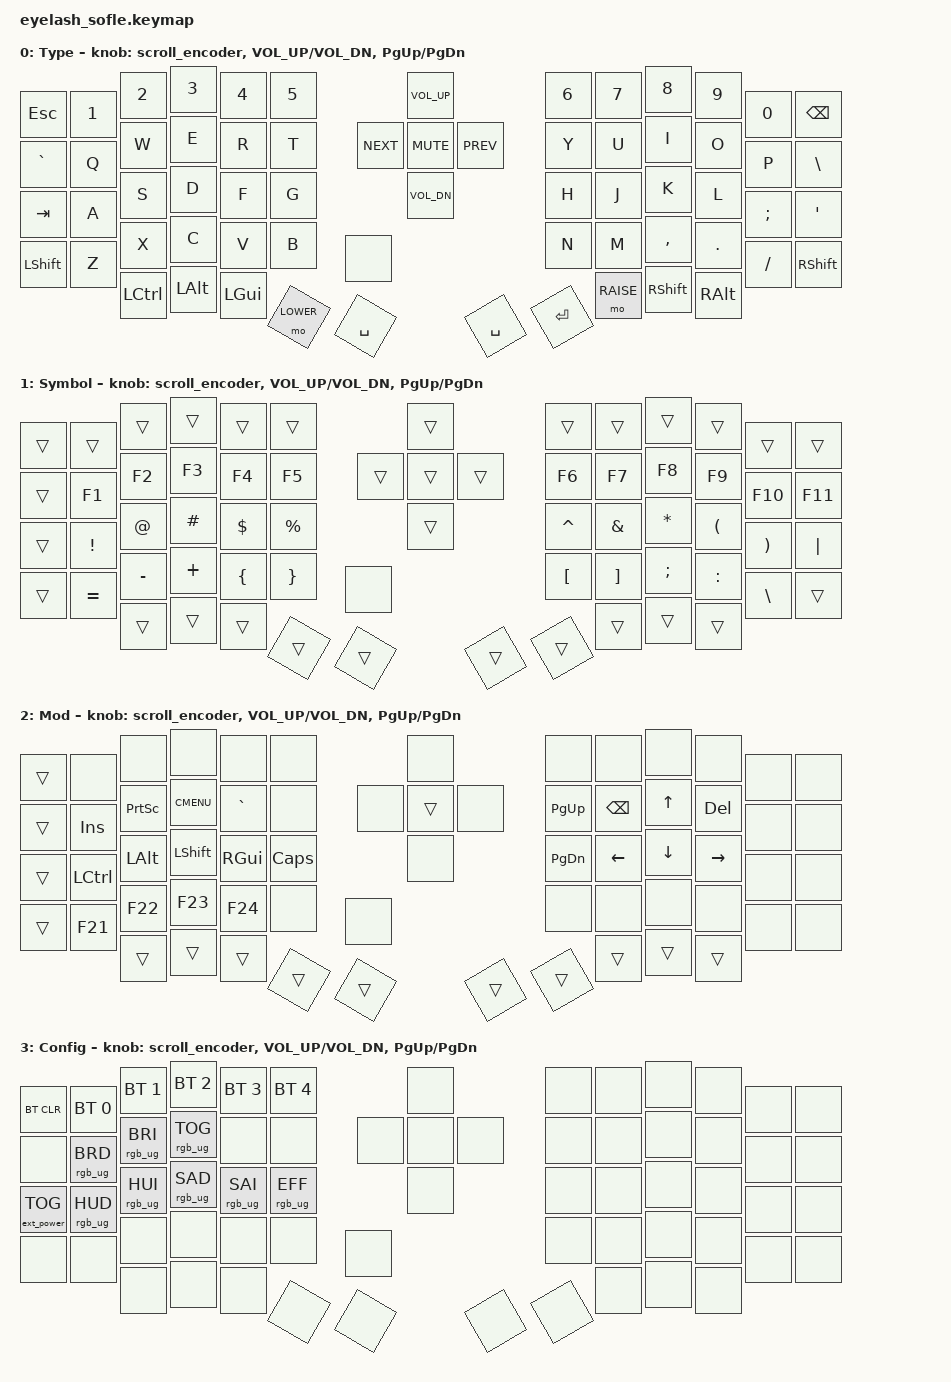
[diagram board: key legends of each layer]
#define ZMK_POINTING_DEFAULT_MOVE_VAL 1200
#define ZMK_POINTING_DEFAULT_SCRL_VAL 25

#include <behaviors.dtsi>
#include <dt-bindings/zmk/bt.h>
#include <dt-bindings/zmk/ext_power.h>
#include <dt-bindings/zmk/keys.h>
#include <dt-bindings/zmk/outputs.h>
#include <dt-bindings/zmk/pointing.h>
#include <dt-bindings/zmk/rgb.h>
#include <input/processors.dtsi>
#include <zephyr/dt-bindings/input/input-event-codes.h>

#define BASE 0
#define LOWER 1
#define RAISE 2
#define ADJUST 3

&mmv_input_listener {
    input-processors = <&zip_xy_scaler 2 1>;
};

&msc_input_listener {
    input-processors = <&zip_scroll_scaler 2 1>;
};

&msc {
    acceleration-exponent = <1>;
    time-to-max-speed-ms = <100>;
    delay-ms = <0>;
};

&mmv {
    acceleration-exponent = <1>;
    time-to-max-speed-ms = <500>;
    trigger-period-ms = <16>;
};

/ {
    conditional_layers {
        compatible = "zmk,conditional-layers";

        adjust_layer {
            if-layers = <LOWER RAISE>;
            then-layer = <ADJUST>;
        };
    };

    scroll_encoder: scroll_encoder {
        compatible = "zmk,behavior-sensor-rotate";
        #sensor-binding-cells = <0>;
        bindings = <&msc SCRL_DOWN>, <&msc SCRL_UP>;
        tap-ms = <100>;
    };

    keymap {
        compatible = "zmk,keymap";

        default_layer {
            display-name = "Type";
            sensor-bindings = <&scroll_encoder
                               &inc_dec_kp C_VOL_UP C_VOL_DN
                               &inc_dec_kp PG_UP PG_DN>;

            bindings = <
//            | Left hand                                         | Encoder/media | Right hand
// Top row    ESC       1         2        3        4        5       Vol+            6        7        8        9        0        BSPC
              &kp ESC   &kp N1    &kp N2   &kp N3   &kp N4   &kp N5  &kp C_VOL_UP    &kp N6   &kp N7   &kp N8   &kp N9   &kp N0   &kp BSPC
// Home row   `         Q         W        E        R        T       Vol-            Y        U        I        O        P        \|
              &kp GRAVE &kp Q     &kp W    &kp E    &kp R    &kp T   &kp C_VOL_DN    &kp Y    &kp U    &kp I    &kp O    &kp P    &kp BSLH
// Lower row  TAB       A         S        D        F        G       Next            H        J        K        L        ;        '
              &kp TAB   &kp A     &kp S    &kp D    &kp F    &kp G   &kp C_NEXT      &kp H    &kp J    &kp K    &kp L    &kp SEMI &kp SQT
// Bottom row SHIFT     Z         X        C        V        B       Prev            N        M        ,        .        /        SHIFT
              &kp LSHFT &kp Z     &kp X    &kp C    &kp V    &kp B   &kp C_PREV      &kp N    &kp M    &kp COMMA &kp DOT  &kp FSLH &kp RSHFT
// Center encoder click
                                                                    &none
// Thumbs     CTRL      ALT       GUI      LOWER    SPACE           Mute            SPACE    ENTER    RAISE    SHIFT    ALT
              &kp LCTRL &kp LALT  &kp LGUI &mo LOWER &kp SPACE      &kp C_MUTE      &kp SPACE &kp ENTER &mo RAISE &kp RSHFT &kp RALT
            >;
        };

        lower_layer {
            display-name = "Symbol";
            sensor-bindings = <&scroll_encoder
                               &inc_dec_kp C_VOL_UP C_VOL_DN
                               &inc_dec_kp PG_UP PG_DN>;

            bindings = <
//            | Left hand                                               | Encoder | Right hand
// Top row    transparent transparent transparent transparent transparent transparent transparent transparent transparent transparent transparent transparent transparent
              &trans      &trans      &trans      &trans      &trans      &trans      &trans      &trans      &trans      &trans      &trans      &trans      &trans
// Home row   transparent F1          F2          F3          F4          F5          transparent F6          F7          F8          F9          F10         F11
              &trans      &kp F1      &kp F2      &kp F3      &kp F4      &kp F5      &trans      &kp F6      &kp F7      &kp F8      &kp F9      &kp F10     &kp F11
// Lower row  transparent !           @           #           $           %           transparent ^           &           *           (           )           |
              &trans      &kp EXCL    &kp AT      &kp HASH    &kp DLLR    &kp PRCNT   &trans      &kp CARET   &kp AMPS    &kp ASTRK   &kp LPAR    &kp RPAR    &kp PIPE
// Bottom row transparent =           -           +           {           }           transparent [           ]           ;           :           \           transparent
              &trans      &kp EQUAL   &kp MINUS   &kp PLUS    &kp LBRC    &kp RBRC    &trans      &kp LBKT    &kp RBKT    &kp SEMI    &kp COLON   &kp BSLH    &trans
// Center encoder click
                                                                                &none
// Thumbs     transparent transparent transparent transparent transparent       transparent transparent transparent transparent transparent transparent
              &trans      &trans      &trans      &trans      &trans            &trans      &trans      &trans      &trans      &trans      &trans
            >;
        };

        raise_layer {
            display-name = "Mod";
            sensor-bindings = <&scroll_encoder
                               &inc_dec_kp C_VOL_UP C_VOL_DN
                               &inc_dec_kp PG_UP PG_DN>;

            bindings = <
//            | Left hand                                             | Encoder | Right hand
// Top row    transparent disabled  disabled  disabled  disabled  disabled disabled  disabled   disabled  disabled disabled  disabled disabled
              &trans      &none     &none     &none     &none     &none     &none     &none      &none     &none    &none     &none    &none
// Home row   transparent INS       PSCR      MENU      `         disabled disabled  PGUP       BSPC      UP      DEL       disabled disabled
              &trans      &kp INS   &kp PSCRN &kp K_CMENU &kp GRAVE &none   &none     &kp PG_UP  &kp BSPC  &kp UP  &kp DEL   &none     &none
// Lower row  transparent CTRL      ALT       SHIFT     GUI       CAPS     disabled  PGDN       LEFT      DOWN    RIGHT     disabled disabled
              &trans      &kp LCTRL &kp LALT  &kp LSHFT &kp RGUI  &kp CLCK &none     &kp PG_DN  &kp LEFT  &kp DOWN &kp RIGHT &none     &none
// Bottom row transparent F21       F22       F23       F24       disabled disabled  disabled   disabled  disabled disabled  disabled disabled
              &trans      &kp F21   &kp F22   &kp F23   &kp F24   &none     &none     &none      &none     &none    &none     &none     &none
// Center encoder click
                                                                          &none
// Thumbs     transparent transparent transparent transparent transparent transparent transparent transparent transparent transparent transparent
              &trans      &trans    &trans    &trans    &trans      &trans    &trans    &trans    &trans    &trans    &trans
            >;
        };

        adjust_layer {
            display-name = "Config";
            sensor-bindings = <&scroll_encoder
                               &inc_dec_kp C_VOL_UP C_VOL_DN
                               &inc_dec_kp PG_UP PG_DN>;

            bindings = <
//            | Left hand                                                     | Encoder | Right hand
// Top row    BT clear      BT1         BT2         BT3         BT4         BT5         disabled disabled disabled disabled disabled disabled disabled
              &bt BT_CLR    &bt BT_SEL 0 &bt BT_SEL 1 &bt BT_SEL 2 &bt BT_SEL 3 &bt BT_SEL 4 &none     &none    &none    &none    &none    &none    &none
// Home row   disabled      RGB-        RGB+        RGB toggle  disabled    disabled    disabled disabled disabled disabled disabled disabled disabled
              &none         &rgb_ug RGB_BRD &rgb_ug RGB_BRI &rgb_ug RGB_TOG &none  &none      &none     &none    &none    &none    &none    &none    &none
// Lower row  ext power     hue-        hue+        sat-        sat+        effect+     disabled disabled disabled disabled disabled disabled disabled
              &ext_power EP_TOG &rgb_ug RGB_HUD &rgb_ug RGB_HUI &rgb_ug RGB_SAD &rgb_ug RGB_SAI &rgb_ug RGB_EFF &none &none &none &none &none &none &none
// Bottom row disabled      disabled    disabled    disabled    disabled    disabled    disabled disabled disabled disabled disabled disabled disabled
              &none         &none       &none       &none       &none       &none       &none     &none    &none    &none    &none    &none    &none
// Center encoder click
                                                                                         &none
// Thumbs     disabled      disabled    disabled    disabled    disabled    disabled    disabled disabled disabled disabled disabled
              &none         &none       &none       &none       &none       &none       &none     &none    &none    &none    &none
            >;
        };
    };
};
